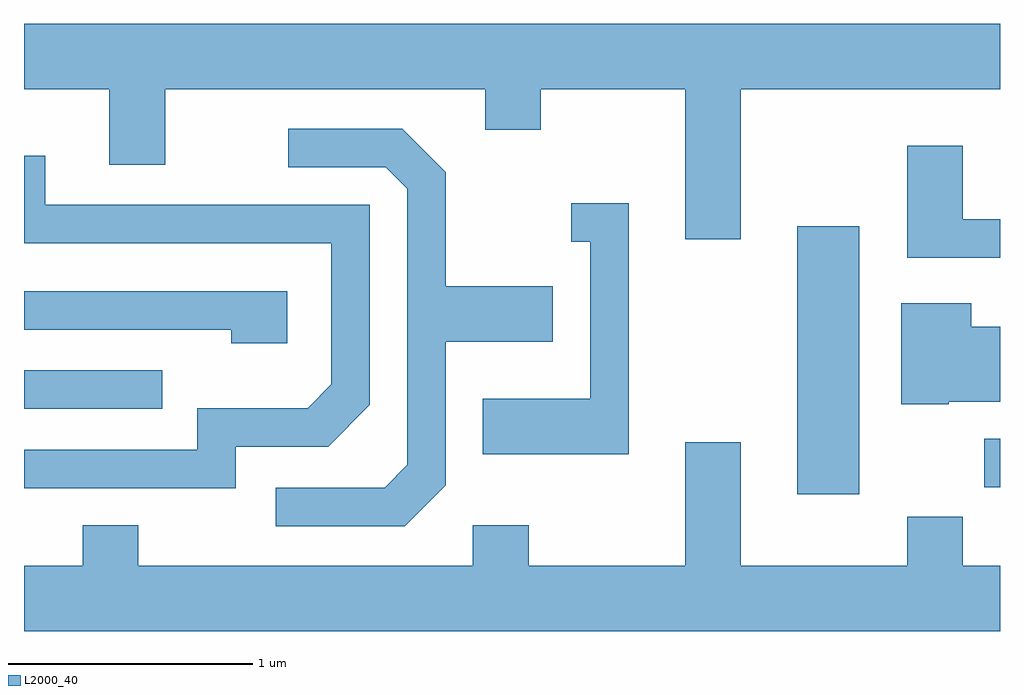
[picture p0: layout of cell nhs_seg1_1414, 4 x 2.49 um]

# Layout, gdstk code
import gdstk
lib = gdstk.Library(unit=1e-6, precision=1e-09)
def R(c, l, rs):  # rectangles x0, y0, x1, y1
    for r in rs: c.add(gdstk.rectangle(r[:2], r[2:], *l))
def P(c, l, *ps):  # polygons
    for p in ps: c.add(gdstk.Polygon(p, *l))
L2000_40 = (2000, 40)

nhs_seg1_1414 = lib.new_cell('nhs_seg1_1414')
R(nhs_seg1_1414, L2000_40, [(230.781,975.616,231.034,976.714), (231.546,975.646,231.611,975.844), (227.611,975.966,228.178,976.124)])
P(nhs_seg1_1414, L2000_40, [(230.549,977.276),(231.611,977.276),(231.611,977.544),(227.611,977.544),(227.611,977.276),(227.961,977.276),(227.961,976.966),(228.189,976.966),(228.189,977.276),(229.501,977.276),(229.501,977.111),(229.729,977.111),(229.729,977.276),(230.321,977.276),(230.321,976.661),(230.549,976.661)],
  [(229.339,975.654),(229.339,976.241),(229.779,976.241),(229.779,976.469),(229.339,976.469),(229.339,976.937),(229.162,977.114),(228.693,977.114),(228.693,976.956),(229.094,976.956),(229.181,976.869),(229.181,975.737),(229.089,975.644),(228.643,975.644),(228.643,975.486),(229.172,975.486)],
  [(231.611,976.744),(231.459,976.744),(231.459,977.044),(231.231,977.044),(231.231,976.586),(231.611,976.586)],
  [(228.479,975.811),(228.857,975.811),(229.029,975.984),(229.029,976.804),(227.699,976.804),(227.699,977.003),(227.611,977.003),(227.611,976.646),(228.871,976.646),(228.871,976.067),(228.774,975.969),(228.321,975.969),(228.321,975.799),(227.611,975.799),(227.611,975.641),(228.479,975.641)],
  [(230.089,976.809),(229.853,976.809),(229.853,976.651),(229.931,976.651),(229.931,976.009),(229.491,976.009),(229.491,975.781),(230.089,975.781)],
  [(228.689,976.449),(227.611,976.449),(227.611,976.291),(228.461,976.291),(228.461,976.236),(228.689,976.236)],
  [(231.4,975.996),(231.611,975.996),(231.611,976.304),(231.494,976.304),(231.494,976.399),(231.206,976.399),(231.206,975.986),(231.4,975.986)],
  [(231.611,975.324),(231.459,975.324),(231.459,975.524),(231.231,975.524),(231.231,975.324),(230.549,975.324),(230.549,975.829),(230.321,975.829),(230.321,975.324),(229.679,975.324),(229.679,975.489),(229.451,975.489),(229.451,975.324),(228.079,975.324),(228.079,975.489),(227.851,975.489),(227.851,975.324),(227.611,975.324),(227.611,975.056),(231.611,975.056)])

lib.write_gds('nhs_seg1_1414.gds')
